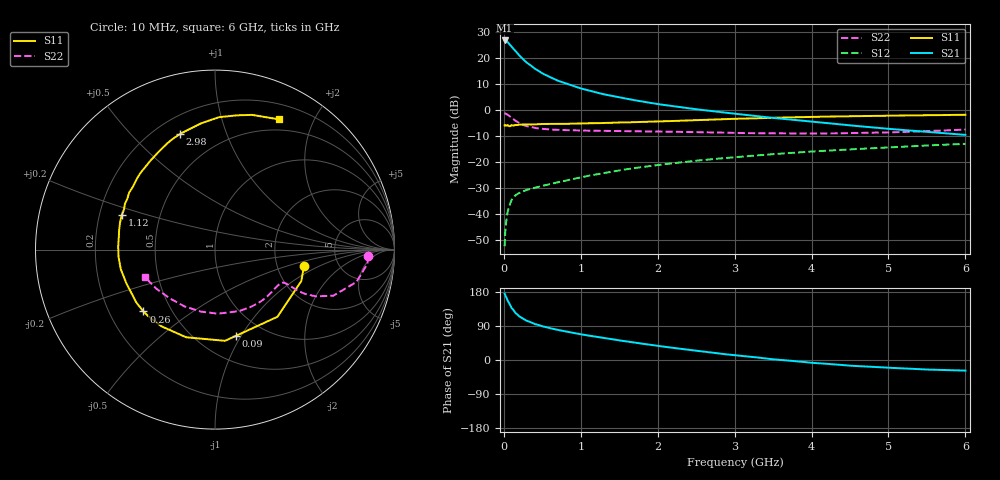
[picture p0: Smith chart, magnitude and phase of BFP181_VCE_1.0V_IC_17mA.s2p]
! Infineon Technologies  Discrete & RF Semiconductors
! BFP181
! VCE = 1.0 V,  IC =  17 mA
! Common Emitter S-Parameters:  Jan 2016
# GHz  S  MA  R  50
!  f  S11  S21  S12  S22
! GHz  MAG  ANG  MAG  ANG  MAG  ANG  MAG  ANG
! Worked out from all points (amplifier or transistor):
!   210 points, 10 MHz to 6 GHz, reference 50 ohm
!   highest |S21| = 26.7 dB at 10 MHz (marker M1)
!   |S21| within 3 dB of that: start of sweep to 120.2 MHz
!   unconditionally stable (mu >= 1): start of sweep to 21.27 MHz; 260.4 MHz to end of sweep
!   at 185 MHz: K = 0.79, MSG = 26.9 dB, |S12| = -32.2 dB
!   at 1.52 GHz: K = 2.21, MAG = 7.7 dB, |S12| = -23.2 dB
!   at 6 GHz: K = 1.94, MAG = -3.9 dB, |S12| = -13.1 dB
!   S11 on the Smith chart (normalised r, x): 10 MHz: 2.85, -0.68; 90 MHz: 0.74, -0.95; 260 MHz: 0.35, -0.33; 1.12 GHz: 0.30, +0.17; 2.98 GHz: 0.30, +0.70; 6 GHz: 0.37, +1.54
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0.01  0.5045 -10.2  21.67 175.1  0.0024 74.9  0.8554 -2.5
0.02  0.5118 -20.0  21.6 170.4  0.0049 70.7  0.8523 -5.4
0.05  0.511 -47.1  20.22 156.2  0.0111 71.8  0.8085 -12.9
0.09  0.4949 -76.6  17.22 141.9  0.017 57.6  0.7263 -19.4
0.1  0.5113 -83.7  16.67 137.6  0.0186 55.5  0.7074 -21.3
0.15  0.5142 -108.2  13.61 124.5  0.0228 49.3  0.6191 -24.9
0.2  0.5217 -125.2  11.23 115.2  0.0253 45.8  0.5576 -26.2
0.24  0.525 -135.1  9.753 109.9  0.0267 43.8  0.5227 -26.4
0.26  0.5272 -139.2  9.131 107.4  0.0275 43.1  0.5083 -26.3
0.3  0.5279 -146.1  8.083 103.3  0.0291 42.5  0.4857 -26.1
0.4  0.5285 -159.1  6.268 95.1  0.0318 43.0  0.4515 -25.6
0.5  0.5363 -168.4  5.053 89.0  0.0346 44.3  0.4323 -25.5
0.7  0.5396 178.3  3.661 79.4  0.0406 47.1  0.4134 -26.6
1.02  0.5506 163.4  2.547 67.2  0.051 50.7  0.4017 -30.5
1.12  0.5539 159.4  2.329 63.8  0.0549 51.5  0.3991 -32.1
1.5  0.5743 146.4  1.741 51.8  0.0687 52.3  0.3923 -38.7
2.02  0.6012 130.4  1.284 36.8  0.0879 50.6  0.3842 -49.5
2.98  0.6733 106.7  0.853 13.0  0.1225 44.6  0.3627 -72.8
3.1  0.6798 104.1  0.816 10.8  0.1267 43.7  0.3594 -76.1
4.1  0.7411 86.7  0.577 -8.6  0.1615 35.2  0.353 -105.9
5.1  0.7802 73.5  0.422 -21.3  0.1934 26.5  0.3732 -135.6
6  0.8082 63.9  0.331 -28.0  0.2225 17.8  0.4192 -158.5
